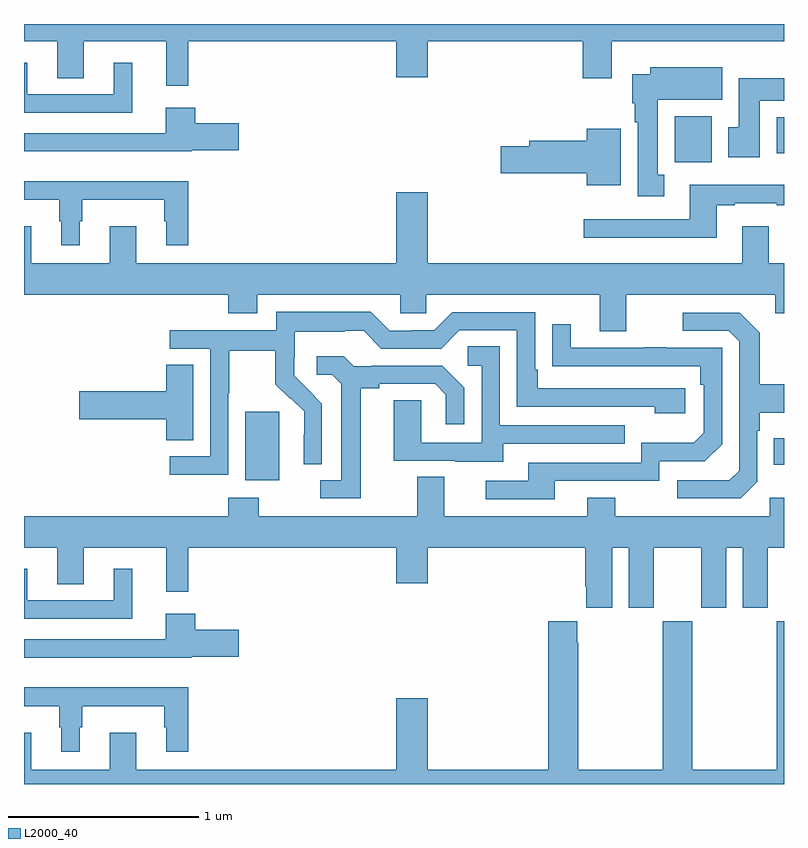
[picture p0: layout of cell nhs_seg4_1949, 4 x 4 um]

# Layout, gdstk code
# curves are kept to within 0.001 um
import gdstk
lib = gdstk.Library(unit=1e-6, precision=1e-09)
def R(c, l, rs):  # rectangles x0, y0, x1, y1
    for r in rs: c.add(gdstk.rectangle(r[:2], r[2:], *l))
def P(c, l, *ps):  # polygons
    for p in ps: c.add(gdstk.Polygon(p, *l))
L2000_40 = (2000, 40)

nhs_seg4_1949 = lib.new_cell('nhs_seg4_1949')
R(nhs_seg4_1949, L2000_40, [(212.165,806.498,212.344,806.859), (214.945,806.579,215,806.719), (214.424,808.172,214.621,808.414), (214.961,808.22,215,808.408)])
P(nhs_seg4_1949, L2000_40, [(211,808.808),(211.175,808.808),(211.175,808.615),(211.315,808.615),(211.315,808.808),(211.748,808.808),(211.748,808.575),(211.865,808.575),(211.865,808.808),(212.96,808.808),(212.96,808.62),(213.124,808.62),(213.124,808.808),(213.941,808.808),(213.941,808.614),(214.093,808.614),(214.093,808.808),(215,808.808),(215,808.9),(211,808.9)],
  [(211.571,808.696),(211.472,808.696),(211.472,808.53),(211.018,808.53),(211.018,808.696),(211,808.696),(211,808.434),(211.571,808.434)],
  [(214.369,808.106),(214.336,808.106),(214.336,808.502),(214.675,808.502),(214.675,808.672),(214.295,808.672),(214.295,808.636),(214.202,808.636),(214.202,808.482),(214.214,808.482),(214.214,808.382),(214.229,808.382),(214.229,807.993),(214.369,807.993)],
  [(214.873,808.496),(215,808.496),(215,808.614),(214.763,808.614),(214.763,808.356),(214.706,808.356),(214.706,808.2),(214.873,808.2)],
  [(211.884,808.235),(212.131,808.235),(212.131,808.377),(211.901,808.377),(211.901,808.459),(211.745,808.459),(211.745,808.326),(211,808.326),(211,808.229),(211.884,808.229)],
  [(214.141,808.348),(213.962,808.348),(213.962,808.286),(213.659,808.286),(213.659,808.256),(213.51,808.256),(213.51,808.114),(213.962,808.114),(213.962,808.052),(214.141,808.052)],
  [(211.294,807.863),(211.306,807.863),(211.306,807.974),(211.737,807.974),(211.737,807.863),(211.748,807.863),(211.748,807.735),(211.865,807.735),(211.865,808.072),(211,808.072),(211,807.974),(211.185,807.974),(211.185,807.863),(211.196,807.863),(211.196,807.735),(211.294,807.735)],
  [(214.645,807.945),(214.741,807.945),(214.741,807.957),(214.961,807.957),(214.961,807.945),(215,807.945),(215,808.054),(214.505,808.054),(214.505,807.873),(213.945,807.873),(213.945,807.776),(214.645,807.776)],
  [(214.171,807.476),(214.955,807.476),(214.955,807.377),(215,807.377),(215,807.64),(214.921,807.64),(214.921,807.835),(214.781,807.835),(214.781,807.64),(213.124,807.64),(213.124,808.015),(212.96,808.015),(212.96,807.64),(211.591,807.64),(211.591,807.835),(211.451,807.835),(211.451,807.64),(211.039,807.64),(211.039,807.835),(211,807.835),(211,807.476),(212.075,807.476),(212.075,807.377),(212.227,807.377),(212.227,807.476),(212.979,807.476),(212.979,807.378),(213.117,807.378),(213.117,807.476),(214.031,807.476),(214.031,807.282),(214.171,807.282)],
  [(212.076,806.956),(212.079,806.956),(212.079,807.18),(212.323,807.18),(212.323,807.005),(212.4,806.928),(212.403,806.931),(212.474,806.861),(212.474,806.738),(212.472,806.738),(212.472,806.584),(212.568,806.584),(212.568,806.902),(212.422,807.05),(212.422,807.147),(212.424,807.147),(212.424,807.281),(212.687,807.281),(212.687,807.285),(212.787,807.285),(212.88,807.192),(213.195,807.192),(213.291,807.288),(213.594,807.288),(213.594,806.886),(214.319,806.886),(214.319,806.852),(214.48,806.852),(214.48,806.982),(213.703,806.982),(213.703,807.079),(213.69,807.079),(213.69,807.384),(213.255,807.384),(213.159,807.288),(213.041,807.288),(213.041,807.285),(212.925,807.285),(212.825,807.385),(212.328,807.385),(212.328,807.288),(211.767,807.288),(211.767,807.192),(211.98,807.192),(211.98,806.625),(211.767,806.625),(211.767,806.527),(212.076,806.527)],
  [(214.86,806.49),(214.86,806.759),(214.873,806.759),(214.873,806.855),(215,806.855),(215,807.003),(214.873,807.003),(214.873,807.275),(214.767,807.381),(214.467,807.381),(214.467,807.285),(214.71,807.285),(214.764,807.231),(214.764,806.55),(214.713,806.499),(214.437,806.499),(214.437,806.403),(214.773,806.403)],
  [(213.793,806.496),(214.344,806.496),(214.344,806.598),(214.584,806.598),(214.674,806.688),(214.674,807.195),(214.379,807.195),(214.379,807.2),(214.267,807.2),(214.267,807.195),(213.877,807.195),(213.877,807.319),(213.781,807.319),(213.781,807.1),(214.558,807.099),(214.558,807.002),(214.578,807.002),(214.578,806.748),(214.525,806.695),(214.248,806.695),(214.248,806.592),(213.653,806.592),(213.653,806.496),(213.429,806.496),(213.429,806.4),(213.793,806.4)],
  [(213.523,806.691),(214.163,806.691),(214.163,806.787),(213.504,806.787),(213.504,807.203),(213.336,807.203),(213.336,807.102),(213.408,807.102),(213.408,806.697),(213.09,806.697),(213.09,806.921),(212.945,806.921),(212.945,806.601),(213.269,806.601),(213.269,806.597),(213.523,806.597)],
  [(212.773,806.984),(212.869,806.984),(212.869,807.006),(213.164,807.006),(213.221,806.949),(213.221,806.793),(213.318,806.793),(213.318,806.986),(213.202,807.102),(212.83,807.102),(212.83,807.099),(212.736,807.099),(212.684,807.151),(212.541,807.151),(212.541,807.054),(212.622,807.054),(212.669,807.007),(212.669,806.499),(212.559,806.499),(212.559,806.403),(212.773,806.403)],
  [(211.891,807.107),(211.748,807.107),(211.748,806.966),(211.29,806.966),(211.29,806.819),(211.748,806.819),(211.748,806.71),(211.891,806.71)],
  [(214.096,806.144),(214.184,806.144),(214.184,805.827),(214.315,805.827),(214.315,806.144),(214.565,806.144),(214.565,805.827),(214.696,805.827),(214.696,806.144),(214.784,806.144),(214.784,805.827),(214.915,805.827),(214.915,806.144),(215,806.144),(215,806.407),(214.926,806.407),(214.926,806.308),(214.113,806.308),(214.113,806.407),(213.965,806.407),(213.965,806.308),(213.211,806.308),(213.211,806.516),(213.071,806.516),(213.071,806.308),(212.235,806.308),(212.235,806.407),(212.075,806.407),(212.075,806.308),(211,806.308),(211,806.144),(211.175,806.144),(211.175,805.951),(211.315,805.951),(211.315,806.144),(211.748,806.144),(211.748,805.911),(211.865,805.911),(211.865,806.144),(212.96,806.144),(212.96,805.956),(213.124,805.956),(213.124,806.144),(213.953,806.144),(213.953,805.939),(213.959,805.939),(213.959,805.827),(214.096,805.827)],
  [(211.571,806.032),(211.472,806.032),(211.472,805.866),(211.018,805.866),(211.018,806.032),(211,806.032),(211,805.77),(211.571,805.77)],
  [(211.884,805.571),(212.131,805.571),(212.131,805.713),(211.901,805.713),(211.901,805.795),(211.745,805.795),(211.745,805.662),(211,805.662),(211,805.565),(211.884,805.565)],
  [(215,805.756),(214.963,805.756),(214.963,804.976),(214.518,804.976),(214.518,805.756),(214.363,805.756),(214.363,804.976),(213.918,804.976),(213.918,805.643),(213.913,805.643),(213.913,805.756),(213.758,805.756),(213.758,804.976),(213.124,804.976),(213.124,805.351),(212.96,805.351),(212.96,804.976),(211.591,804.976),(211.591,805.171),(211.451,805.171),(211.451,804.976),(211.039,804.976),(211.039,805.171),(211,805.171),(211,804.9),(215,804.9)],
  [(211.294,805.199),(211.306,805.199),(211.306,805.31),(211.737,805.31),(211.737,805.199),(211.748,805.199),(211.748,805.071),(211.865,805.071),(211.865,805.408),(211,805.408),(211,805.31),(211.185,805.31),(211.185,805.199),(211.196,805.199),(211.196,805.071),(211.294,805.071)])

lib.write_gds('nhs_seg4_1949.gds')
